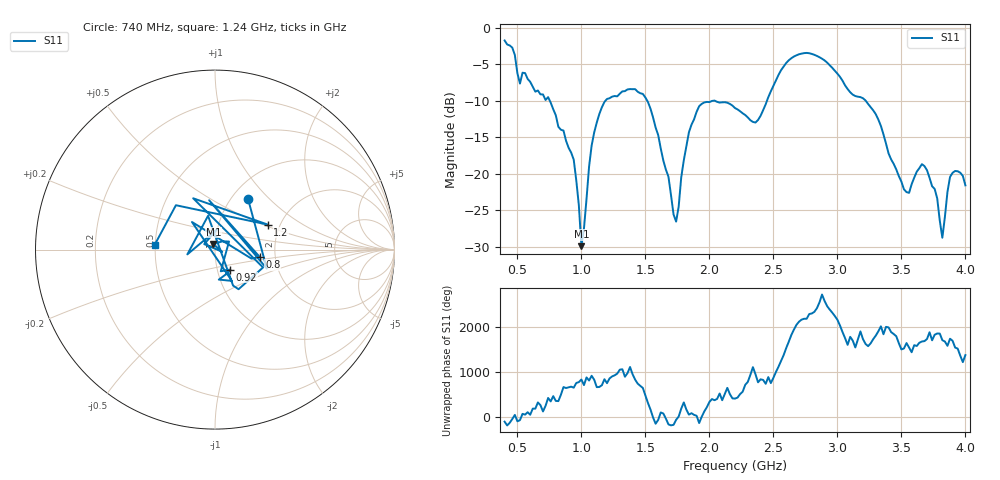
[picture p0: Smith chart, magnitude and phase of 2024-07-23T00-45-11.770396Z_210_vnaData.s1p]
!Created with skrf (http://scikit-rf.org).
# Hz S RI R 50.0
!freq ReS11 ImS11
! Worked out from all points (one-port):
!   181 points, 400 MHz to 4 GHz, reference 50 ohm
!   lowest |S11| = -29.9 dB at 1 GHz (marker M1), VSWR 1.07, Z = 49 + j3.01 ohm
!   |S11| at or under -10 dB: 753.4 MHz to 1.187 GHz (434 MHz wide, 44.7 % of centre); 1.515 GHz to 2.027 GHz (512.5 MHz wide, 28.9 % of centre); 3.222 GHz to end of sweep (the widest 3 of 4)
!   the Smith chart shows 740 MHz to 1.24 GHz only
!   S11 on the Smith chart (normalised r, x): 740 MHz: 1.20, +0.75; 800 MHz: 1.65, -0.14; 920 MHz: 1.15, -0.26; 1.2 GHz: 1.73, +0.54; 1.24 GHz: 0.50, +0.03
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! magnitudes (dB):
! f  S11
! 400 MHz  -1.7
! 520 MHz  -7.6
! 740 MHz  -9.5
! 800 MHz  -12.0
! 860 MHz  -14.1
! 920 MHz  -17.1
! 960 MHz  -20.9
! 1 GHz  -29.9
! 1.08 GHz  -16.1
! 1.2 GHz  -9.7
! 1.24 GHz  -9.4
! 1.3 GHz  -9.0
! 1.52 GHz  -10.2
! 1.72 GHz  -25.6
! 1.76 GHz  -24.5
! 1.84 GHz  -14.3
! 1.92 GHz  -10.7
! 2.2 GHz  -11.0
! 2.36 GHz  -13.0
! 2.66 GHz  -3.9
! 3.1 GHz  -8.8
! 3.3 GHz  -11.8
! 3.56 GHz  -22.6
! 3.68 GHz  -18.9
! 3.78 GHz  -23.4
! 3.82 GHz  -28.7
! 3.88 GHz  -20.4
! 4 GHz  -21.6
